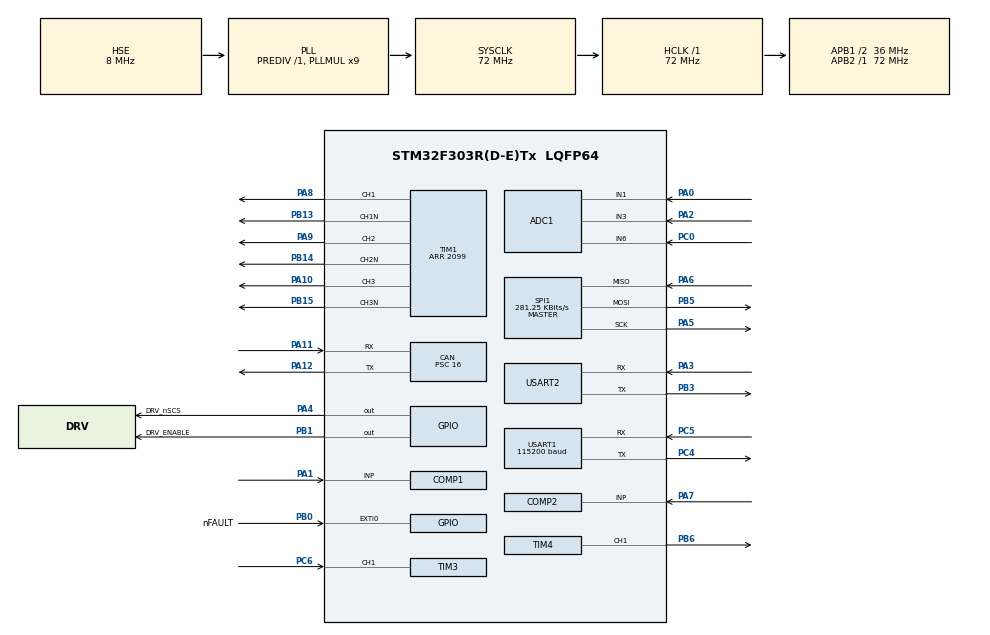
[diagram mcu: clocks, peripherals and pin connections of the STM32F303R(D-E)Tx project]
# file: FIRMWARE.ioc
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ADC1.Channel-0\#ChannelRegularConversion=ADC_CHANNEL_1
ADC1.NbrOfConversionFlag=1
ADC1.Offset-0\#ChannelRegularConversion=0
ADC1.OffsetNumber-0\#ChannelRegularConversion=ADC_OFFSET_NONE
ADC1.Rank-0\#ChannelRegularConversion=1
ADC1.SamplingTime-0\#ChannelRegularConversion=ADC_SAMPLETIME_1CYCLE_5
ADC1.master=1
CAN.BS1=CAN_BS1_6TQ
CAN.BS2=CAN_BS2_2TQ
CAN.CalculateBaudRate=250000
CAN.CalculateTimeBit=4000
CAN.CalculateTimeQuantum=444.44444444444446
CAN.Prescaler=16
COMP1.InvertingInput=COMP_INVERTINGINPUT_1_2VREFINT
COMP1.TriggerMode=COMP_TRIGGERMODE_IT_RISING_FALLING
COMP2.InvertingInput=COMP_INVERTINGINPUT_1_2VREFINT
COMP2.TriggerMode=COMP_TRIGGERMODE_IT_RISING_FALLING
Mcu.Family=STM32F3
Mcu.Name=STM32F303R(D-E)Tx
Mcu.Package=LQFP64
NVIC.COMP1_2_3_IRQn=true\:0\:0\:false\:false\:true\:false\:true\:true
NVIC.EXTI0_IRQn=true\:0\:0\:false\:false\:true\:true\:true\:true
NVIC.PriorityGroup=NVIC_PRIORITYGROUP_4
NVIC.TIM2_IRQn=true\:0\:0\:false\:false\:true\:true\:true\:true
NVIC.TIM3_IRQn=true\:0\:0\:false\:false\:true\:true\:true\:true
NVIC.USART1_IRQn=true\:0\:0\:false\:false\:true\:true\:true\:true
PA0.Mode=IN1-Single-Ended
PA0.Signal=ADC1_IN1
PA1.Mode=INP
PA1.Signal=COMP1_INP
PA10.Signal=S_TIM1_CH3
PA11.Mode=CAN_Activate
PA11.Signal=CAN_RX
PA12.Mode=CAN_Activate
PA12.Signal=CAN_TX
PA13.Mode=Serial_Wire
PA13.Signal=SYS_JTMS-SWDIO
PA14.Mode=Serial_Wire
PA14.Signal=SYS_JTCK-SWCLK
PA2.Mode=IN3-Single-Ended
PA2.Signal=ADC1_IN3
PA3.Mode=Asynchronous
PA3.Signal=USART2_RX
PA4.GPIO_Label=DRV_nSCS
PA4.PinState=GPIO_PIN_SET
PA4.Signal=GPIO_Output
PA5.Mode=Full_Duplex_Master
PA5.Signal=SPI1_SCK
PA6.Mode=Full_Duplex_Master
PA6.Signal=SPI1_MISO
PA7.Mode=INP
PA7.Signal=COMP2_INP
PA8.Signal=S_TIM1_CH1
PA9.Signal=S_TIM1_CH2
PB0.GPIO_Label=nFAULT
PB0.GPIO_ModeDefaultEXTI=GPIO_MODE_IT_FALLING
PB0.GPIO_PuPd=GPIO_PULLUP
PB0.Signal=GPXTI0
PB1.GPIO_Label=DRV_ENABLE
PB1.Signal=GPIO_Output
PB13.Mode=PWM Generation1 CH1 CH1N
PB13.Signal=TIM1_CH1N
PB14.Mode=PWM Generation2 CH2 CH2N
PB14.Signal=TIM1_CH2N
PB15.Mode=PWM Generation3 CH3 CH3N
PB15.Signal=TIM1_CH3N
PB3.Mode=Asynchronous
PB3.Signal=USART2_TX
PB5.Mode=Full_Duplex_Master
PB5.Signal=SPI1_MOSI
PB6.Signal=S_TIM4_CH1
PC0.Signal=ADCx_IN6
PC4.Mode=Asynchronous
PC4.Signal=USART1_TX
PC5.Mode=Asynchronous
PC5.Signal=USART1_RX
PC6.Signal=S_TIM3_CH1
PF0-OSC_IN.Mode=HSE-External-Oscillator
PF0-OSC_IN.Signal=RCC_OSC_IN
PF1-OSC_OUT.Mode=HSE-External-Oscillator
PF1-OSC_OUT.Signal=RCC_OSC_OUT
ProjectManager.HeapSize=0x200
ProjectManager.StackSize=0x400
ProjectManager.TargetToolchain=STM32CubeIDE
RCC.AHBFreq_Value=72000000
RCC.APB1CLKDivider=RCC_HCLK_DIV2
RCC.APB1Freq_Value=36000000
RCC.APB1TimFreq_Value=72000000
RCC.APB2Freq_Value=72000000
RCC.APB2TimFreq_Value=72000000
RCC.CortexFreq_Value=72000000
RCC.HCLKFreq_Value=72000000
RCC.HSE_VALUE=8000000
RCC.HSI_VALUE=8000000
RCC.LSE_VALUE=32768
RCC.PLLMUL=RCC_PLL_MUL9
RCC.PLLSourceVirtual=RCC_PLLSOURCE_HSE
RCC.SYSCLKFreq_VALUE=72000000
RCC.SYSCLKSourceVirtual=RCC_SYSCLKSOURCE_PLLCLK
RCC.USBFreq_Value=72000000
SH.ADCx_IN6.0=ADC1_IN6,IN6-Single-Ended
SH.S_TIM1_CH1.0=TIM1_CH1,PWM Generation1 CH1 CH1N
SH.S_TIM1_CH2.0=TIM1_CH2,PWM Generation2 CH2 CH2N
SH.S_TIM1_CH3.0=TIM1_CH3,PWM Generation3 CH3 CH3N
SH.S_TIM3_CH1.0=TIM3_CH1,Input_Capture1_from_TI1
SH.S_TIM4_CH1.0=TIM4_CH1,PWM Generation1 CH1
SPI1.BaudRatePrescaler=SPI_BAUDRATEPRESCALER_256
SPI1.CLKPhase=SPI_PHASE_2EDGE
SPI1.CalculateBaudRate=281.25 KBits/s
SPI1.DataSize=SPI_DATASIZE_16BIT
SPI1.Direction=SPI_DIRECTION_2LINES
SPI1.Mode=SPI_MODE_MASTER
SPI1.VirtualType=VM_MASTER
TIM1.AutomaticOutput=TIM_AUTOMATICOUTPUT_ENABLE
TIM1.Channel-PWM\ Generation1\ CH1\ CH1N=TIM_CHANNEL_1
TIM1.Channel-PWM\ Generation2\ CH2\ CH2N=TIM_CHANNEL_2
TIM1.Channel-PWM\ Generation3\ CH3\ CH3N=TIM_CHANNEL_3
TIM1.DeadTime=72
TIM1.Period=2099
TIM2.Period=9000
TIM2.Prescaler=71
TIM3.Channel-Input_Capture1_from_TI1=TIM_CHANNEL_1
TIM3.Prescaler=71
TIM4.Channel-PWM\ Generation1\ CH1=TIM_CHANNEL_1
TIM4.Period=19999
TIM4.Prescaler=71
USART1.BaudRate=115200
USART1.VirtualMode-Asynchronous=VM_ASYNC
USART2.VirtualMode-Asynchronous=VM_ASYNC
VP_COMP1_VS_VREFINT12.Mode=VREFINT_12
VP_COMP2_VS_VREFINT12.Mode=VREFINT_12
VP_TIM1_VS_ClockSourceINT.Mode=Internal
VP_TIM2_VS_ClockSourceINT.Mode=Internal
VP_TIM2_VS_OPM.Mode=OPM_bit
VP_TIM3_VS_ClockSourceINT.Mode=Internal
VP_TIM4_VS_ClockSourceINT.Mode=Internal
board=custom

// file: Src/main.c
/* USER CODE BEGIN Header */
/**
  ******************************************************************************
  * @file           : main.c
  * @brief          : ESC Firmware — STM32F303RET6 + DRV8353SRTAT
  *                   Hardcoded throttle test — verifies PWM output via UART
  *
  * Motor control from:
  *   AM32 MultiRotor ESC Firmware (AlkaMotors/AM32-MultiRotor-ESC-firmware)
  *   Sapog open-source ESC (PX4/sapog)
  *   open-esc-firmware (open-esc/open-esc-firmware)
  *
  * UART output → ST-Link VCP → COM5 → PowerShell terminal on PC
  * Read with: $p=New-Object IO.Ports.SerialPort COM5,115200,None,8,One;$p.Open();while($true){try{Write-Host $p.ReadLine()}catch{}}
  ******************************************************************************
  */
/* USER CODE END Header */
#include "main.h"
#include "adc.h"
#include "can.h"
#include "comp.h"
#include "spi.h"
#include "tim.h"
#include "usart.h"
#include "gpio.h"

/* USER CODE BEGIN Includes */
#include <stdio.h>
#include <string.h>
#include <stdint.h>
#include <stdbool.h>
/* USER CODE END Includes */

/* USER CODE BEGIN PD */

/* --- DRV8353S REGISTER ADDRESSES [open-esc-firmware drv8353rs.h] --- */
#define DRIVER_CONTROL          0x02
#define GATE_DRIVE_HIGH_CONTROL 0x03
#define GATE_DRIVE_LOW_CONTROL  0x04
#define OVERCURRENT_CONTROL     0x05
#define CURRENT_SENSE_CONTROL   0x06
#define DRIVER_CONFIGURATION    0x07
#define BOTTOM_11_BIT_MASK      0x7FF
#define BOTTOM_4_BIT_MASK       0x0F

/* --- MOTOR CONSTANTS --- */
#define PWM_ARR                 2100
#define RAMP_STEP               3
#define MIN_STARTUP_DUTY        150
#define BEMF_FILTER_COUNT       3
#define STARTUP_STEP_DELAY_START_US   8000
#define STARTUP_STEP_DELAY_MIN_US     800
#define STARTUP_HANDOFF_CROSSES       10

/* --- TEST THROTTLE ---
 * Hardcoded throttle value for PWM verification test
 * Range: 0-8191 (maps to 0-100% duty)
 * 2000 = ~24% duty cycle — safe for bench test without motor connected
 */
#define TEST_THROTTLE_VALUE     2000

/* USER CODE END PD */

/* USER CODE BEGIN PV */

/* --- Motor command state --- */
static int16_t          g_throttle          = 0;
static uint32_t         g_current_duty      = 0;
static uint32_t         g_target_duty       = 0;
static uint8_t          g_armed             = 0;

/* --- Commutation state [AM32 main.c pattern] --- */
static uint8_t          g_step              = 0;
static uint8_t          g_direction         = 0;
static uint8_t          g_running           = 0;
static uint32_t         g_comm_intervals[6] = {9000,9000,9000,9000,9000,9000};
static uint8_t          g_interval_idx      = 0;
static uint32_t         g_avg_interval      = 9000;
static uint32_t         g_last_comm_tick    = 0;
static uint8_t          g_zero_crosses      = 0;
static uint8_t          g_bemf_rising       = 1;

/* --- Startup state [Sapog pattern] --- */
static uint32_t         g_startup_delay_us  = STARTUP_STEP_DELAY_START_US;
static uint8_t          g_startup_step      = 0;

/* --- Telemetry --- */
static float            g_rpm               = 0.0f;
static float            g_current_amps      = 0.0f;
static float            g_voltage_volts     = 0.0f;
static uint32_t         g_error_count       = 0;
static uint8_t          g_node_health       = 0;

/* USER CODE END PV */

void SystemClock_Config(void);

/* USER CODE BEGIN 0 */

/* ================================================================
   UART RETARGET — printf → USART2 → ST-Link VCP → PC terminal
   ================================================================ */
int _write(int file, char *ptr, int len)
{
    HAL_UART_Transmit(&huart2, (uint8_t*)ptr, len, HAL_MAX_DELAY);
    return len;
}

/* ================================================================
   DRV8353S SPI DRIVER
   [open-esc-firmware drv8353rs.c — ChibiOS calls replaced with HAL]
   ================================================================ */

static void delay_us(uint32_t us)
{
    uint32_t start = DWT->CYCCNT;
    uint32_t ticks = us * (HAL_RCC_GetHCLKFreq() / 1000000UL);
    while ((DWT->CYCCNT - start) < ticks);
}

static uint16_t spi_exchange_word(uint16_t tx_word)
{
    uint8_t tx[2], rx[2];
    tx[0] = (uint8_t)(tx_word >> 8);
    tx[1] = (uint8_t)(tx_word & 0xFF);
    HAL_GPIO_WritePin(GPIOA, GPIO_PIN_4, GPIO_PIN_RESET);
    HAL_SPI_TransmitReceive(&hspi1, tx, rx, 2, 10);
    HAL_GPIO_WritePin(GPIOA, GPIO_PIN_4, GPIO_PIN_SET);
    return (uint16_t)((rx[0] << 8) | rx[1]);
}

static uint16_t drv_read_reg(uint8_t addr)
{
    addr &= BOTTOM_4_BIT_MASK;
    return spi_exchange_word((1 << 15) | (addr << 11)) & BOTTOM_11_BIT_MASK;
}

static void drv_write_reg(uint8_t addr, uint16_t data)
{
    addr &= BOTTOM_4_BIT_MASK;
    data &= BOTTOM_11_BIT_MASK;
    delay_us(1);
    spi_exchange_word((0 << 15) | (addr << 11) | data);
}

static void drv_enable(void)
{
    HAL_GPIO_WritePin(GPIOB, GPIO_PIN_1, GPIO_PIN_RESET);
    delay_us(40);
    HAL_GPIO_WritePin(GPIOB, GPIO_PIN_1, GPIO_PIN_SET);
}

static void drv_lock_spi(void)
{
    uint16_t cmd = drv_read_reg(GATE_DRIVE_HIGH_CONTROL);
    cmd &= ~(0b111 << 8);
    cmd |=  (0b110 << 8);
    drv_write_reg(GATE_DRIVE_HIGH_CONTROL, cmd);
}

static void drv_unlock_spi(void)
{
    uint16_t cmd = drv_read_reg(GATE_DRIVE_HIGH_CONTROL);
    cmd &= ~(0b111 << 8);
    cmd |=  (0b011 << 8);
    drv_write_reg(GATE_DRIVE_HIGH_CONTROL, cmd);
}

static bool drv_has_fault(void)
{
    return HAL_GPIO_ReadPin(GPIOB, GPIO_PIN_0) == GPIO_PIN_RESET;
}

static void DRV8353_Init(void)
{
    drv_enable();
    drv_unlock_spi();

    uint16_t tx_driver_control =
          0 << 10 | 0 << 9 | 0 << 8 | 1 << 7
        | 0 << 5  | 0 << 4 | 0 << 3 | 0 << 2
        | 0 << 1  | 0 << 0;
    drv_write_reg(DRIVER_CONTROL, tx_driver_control);

    uint16_t tx_gate_drive_high =
          0b000  << 8
        | 0b0100 << 4
        | 0b0011 << 0;
    drv_write_reg(GATE_DRIVE_HIGH_CONTROL, tx_gate_drive_high);

    uint16_t tx_gate_drive_low =
          0    << 10
        | 0b01 <<  8
        | 0b0100 << 4
        | 0b0011 << 0;
    drv_write_reg(GATE_DRIVE_LOW_CONTROL, tx_gate_drive_low);

    uint16_t tx_overcurrent_control =
          0    << 10
        | 0b01 <<  8
        | 0b01 <<  6
        | 0b10 <<  4
        | 0b0000 << 0;
    drv_write_reg(OVERCURRENT_CONTROL, tx_overcurrent_control);

    uint16_t tx_current_sense_control =
          0    << 10
        | 1    <<  9
        | 0    <<  8
        | 0b11 <<  6
        | 0    <<  5
        | 0    <<  4
        | 0    <<  3
        | 0    <<  2
        | 0b11 <<  0;
    drv_write_reg(CURRENT_SENSE_CONTROL, tx_current_sense_control);

    uint16_t tx_driver_configuration = 1 << 0;
    drv_write_reg(DRIVER_CONFIGURATION, tx_driver_configuration);

    drv_lock_spi();
}

static void DRV8353_Calibrate(void)
{
    drv_unlock_spi();
    uint16_t csa = drv_read_reg(CURRENT_SENSE_CONTROL);
    csa |= 0b111 << 2;
    drv_write_reg(CURRENT_SENSE_CONTROL, csa);
    HAL_Delay(1000);
    csa &= ~(0b111 << 2);
    drv_write_reg(CURRENT_SENSE_CONTROL, csa);
    drv_lock_spi();
}

static void DRV8353_HandleFault(void)
{
    uint16_t fault1 = drv_read_reg(0x00);
    if (fault1 & (1 << 7)) g_node_health = 1;
    if (fault1 & (1 << 6)) g_node_health = 1;
    if (fault1 & 0x3F)
    {
        g_error_count++;
        g_throttle = 0; g_armed = 0; g_running = 0;
    }
    drv_unlock_spi();
    drv_write_reg(DRIVER_CONTROL, 0x001);
    HAL_Delay(1);
    drv_write_reg(DRIVER_CONTROL, 0x000);
    drv_lock_spi();
}

/* ================================================================
   PHASE OUTPUT CONTROL [AM32 phaseouts.c]
   ================================================================ */

static void phaseA_PWM(uint32_t d) { TIM1->CCR1=d; TIM1->CCER|=(TIM_CCER_CC1E|TIM_CCER_CC1NE); }
static void phaseA_LOW(void)       { TIM1->CCR1=0; TIM1->CCER&=~TIM_CCER_CC1E;  TIM1->CCER|=TIM_CCER_CC1NE; }
static void phaseA_FLOAT(void)     { TIM1->CCR1=0; TIM1->CCER&=~(TIM_CCER_CC1E|TIM_CCER_CC1NE); }
static void phaseB_PWM(uint32_t d) { TIM1->CCR2=d; TIM1->CCER|=(TIM_CCER_CC2E|TIM_CCER_CC2NE); }
static void phaseB_LOW(void)       { TIM1->CCR2=0; TIM1->CCER&=~TIM_CCER_CC2E;  TIM1->CCER|=TIM_CCER_CC2NE; }
static void phaseB_FLOAT(void)     { TIM1->CCR2=0; TIM1->CCER&=~(TIM_CCER_CC2E|TIM_CCER_CC2NE); }
static void phaseC_PWM(uint32_t d) { TIM1->CCR3=d; TIM1->CCER|=(TIM_CCER_CC3E|TIM_CCER_CC3NE); }
static void phaseC_LOW(void)       { TIM1->CCR3=0; TIM1->CCER&=~TIM_CCER_CC3E;  TIM1->CCER|=TIM_CCER_CC3NE; }
static void phaseC_FLOAT(void)     { TIM1->CCR3=0; TIM1->CCER&=~(TIM_CCER_CC3E|TIM_CCER_CC3NE); }
static void allPhases_OFF(void)
{
    TIM1->CCR1=0; TIM1->CCR2=0; TIM1->CCR3=0;
    TIM1->CCER &= ~(TIM_CCER_CC1E|TIM_CCER_CC1NE|
                    TIM_CCER_CC2E|TIM_CCER_CC2NE|
                    TIM_CCER_CC3E|TIM_CCER_CC3NE);
}

/* ================================================================
   COMMUTATION [AM32 main.c commutate()]
   ================================================================ */

static void applyStep(uint8_t step, uint32_t duty)
{
    switch(step)
    {
        case 0: phaseA_PWM(duty); phaseB_LOW();     phaseC_FLOAT(); g_bemf_rising=0; break;
        case 1: phaseA_PWM(duty); phaseB_FLOAT();   phaseC_LOW();   g_bemf_rising=1; break;
        case 2: phaseA_FLOAT();   phaseB_PWM(duty); phaseC_LOW();   g_bemf_rising=0; break;
        case 3: phaseA_LOW();     phaseB_PWM(duty); phaseC_FLOAT(); g_bemf_rising=1; break;
        case 4: phaseA_LOW();     phaseB_FLOAT();   phaseC_PWM(duty); g_bemf_rising=0; break;
        case 5: phaseA_FLOAT();   phaseB_LOW();     phaseC_PWM(duty); g_bemf_rising=1; break;
        default: allPhases_OFF(); break;
    }
}

static void commutate(void)
{
    uint32_t now      = TIM2->CNT;
    uint32_t interval = now - g_last_comm_tick;
    g_last_comm_tick  = now;
    g_comm_intervals[g_interval_idx] = interval;
    g_interval_idx = (g_interval_idx + 1) % 6;
    uint32_t sum = 0;
    for (uint8_t i = 0; i < 6; i++) sum += g_comm_intervals[i];
    g_avg_interval = sum / 6;
    if (g_avg_interval > 0)
        g_rpm = 60000000.0f / (g_avg_interval * 6.0f * 7.0f);
    if (g_direction == 0) g_step = (g_step + 1) % 6;
    else                  g_step = (g_step + 5) % 6;
    applyStep(g_step, g_current_duty);
}

static void pollBEMF(void)
{
    static uint8_t filter_count = 0;
    static uint8_t zc_found     = 0;
    uint8_t comp_out = (uint8_t)((COMP1->CSR >> 14) & 0x1);
    if (comp_out == g_bemf_rising)
    {
        filter_count++;
        if (filter_count >= BEMF_FILTER_COUNT && !zc_found)
        {
            zc_found = 1; filter_count = 0;
            uint32_t advance  = g_avg_interval / 6;
            uint32_t waitTime = g_avg_interval / 2;
            if (waitTime > advance) waitTime -= advance;
            __HAL_TIM_SET_AUTORELOAD(&htim2, waitTime);
            __HAL_TIM_SET_COUNTER(&htim2, 0);
            HAL_TIM_Base_Start_IT(&htim2);
        }
    }
    else { filter_count = 0; zc_found = 0; }
}

/* ================================================================
   STARTUP [Sapog motor.cpp open-loop pattern]
   ================================================================ */

static void runStartup(void)
{
    uint32_t duty = (g_current_duty > MIN_STARTUP_DUTY) ? g_current_duty : MIN_STARTUP_DUTY;
    applyStep(g_startup_step, duty);
    delay_us(g_startup_delay_us);
    g_startup_step = (g_startup_step + 1) % 6;
    if (g_startup_delay_us > STARTUP_STEP_DELAY_MIN_US + 50)
        g_startup_delay_us -= 50;
    uint8_t comp_out = (uint8_t)((COMP1->CSR >> 14) & 0x1);
    if (comp_out == g_bemf_rising) g_zero_crosses++;
    if (g_zero_crosses >= STARTUP_HANDOFF_CROSSES)
    {
        g_running = 1; g_zero_crosses = 0;
        g_startup_delay_us = STARTUP_STEP_DELAY_START_US;
        HAL_NVIC_EnableIRQ(COMP1_2_3_IRQn);
    }
}

/* ================================================================
   THROTTLE
   ================================================================ */

static void apply_throttle(int16_t raw)
{
    if (!g_armed) { if (raw == 0) g_armed = 1; return; }
    if (raw == 0)
    {
        g_target_duty = 0; g_running = 0;
        g_startup_delay_us = STARTUP_STEP_DELAY_START_US;
        g_zero_crosses = 0; allPhases_OFF(); return;
    }
    if (raw < 0) { g_direction = 1; raw = -raw; }
    else           g_direction = 0;
    g_target_duty = (uint32_t)((raw / 8191.0f) * PWM_ARR);
    if (g_current_duty < g_target_duty)
    {
        g_current_duty += RAMP_STEP;
        if (g_current_duty > g_target_duty) g_current_duty = g_target_duty;
    }
    else if (g_current_duty > g_target_duty)
    {
        if (g_current_duty >= RAMP_STEP) g_current_duty -= RAMP_STEP;
        else g_current_duty = 0;
    }
    if (!g_running) runStartup();
    else            applyStep(g_step, g_current_duty);
}

/* ================================================================
   ADC SENSING
   ================================================================ */

static void updateADC(void)
{
    HAL_ADC_Start(&hadc1);
    if (HAL_ADC_PollForConversion(&hadc1, 5) == HAL_OK)
    {
        uint32_t raw = HAL_ADC_GetValue(&hadc1);
        float v_so   = (raw / 4095.0f) * 3.3f;
        g_current_amps = (v_so - 1.65f) * 50.0f;
    }
    HAL_ADC_Start(&hadc1);
    if (HAL_ADC_PollForConversion(&hadc1, 5) == HAL_OK)
    {
        uint32_t raw = HAL_ADC_GetValue(&hadc1);
        g_voltage_volts = ((raw / 4095.0f) * 3.3f) * 11.0f;
    }
    HAL_ADC_Stop(&hadc1);
}

/* ================================================================
   INTERRUPT HANDLERS
   ================================================================ */

void COMP1_2_3_IRQHandler(void)
{
    uint32_t elapsed = TIM2->CNT - g_last_comm_tick;
    if (elapsed < (g_avg_interval / 2))
    {
        uint8_t comp_out = (uint8_t)((COMP1->CSR >> 14) & 0x1);
        if (comp_out != g_bemf_rising) { EXTI->PR |= EXTI_PR_PR21; return; }
    }
    uint32_t advance  = g_avg_interval / 6;
    uint32_t waitTime = g_avg_interval / 2;
    if (waitTime > advance) waitTime -= advance;
    if (waitTime < 10) waitTime = 10;
    HAL_TIM_Base_Stop(&htim2);
    __HAL_TIM_SET_COUNTER(&htim2, 0);
    __HAL_TIM_SET_AUTORELOAD(&htim2, waitTime);
    HAL_TIM_Base_Start_IT(&htim2);
    EXTI->PR |= EXTI_PR_PR21;
}

void TIM2_IRQHandler(void)
{
    HAL_TIM_Base_Stop(&htim2);
    __HAL_TIM_CLEAR_FLAG(&htim2, TIM_FLAG_UPDATE);
    commutate();
}

void EXTI0_IRQHandler(void)
{
    HAL_GPIO_EXTI_IRQHandler(GPIO_PIN_0);
    if (drv_has_fault()) DRV8353_HandleFault();
}

/* USER CODE END 0 */

int main(void)
{

  /* MCU Configuration--------------------------------------------------------*/

  /* Reset of all peripherals, Initializes the Flash interface and the Systick. */
  HAL_Init();

  /* Configure the system clock */
  SystemClock_Config();

  /* Initialize all configured peripherals */
  MX_GPIO_Init();
  MX_ADC1_Init();
  MX_CAN_Init();
  MX_SPI1_Init();
  MX_TIM1_Init();
  MX_TIM2_Init();
  MX_TIM3_Init();
  MX_TIM4_Init();
  MX_USART1_UART_Init();
  MX_COMP1_Init();
  MX_COMP2_Init();
  MX_USART2_UART_Init();
  /* USER CODE BEGIN 2 */

    /* Enable DWT cycle counter for microsecond delays */
    CoreDebug->DEMCR |= CoreDebug_DEMCR_TRCENA_Msk;
    DWT->CYCCNT       = 0;
    DWT->CTRL        |= DWT_CTRL_CYCCNTENA_Msk;

    /* Safe state */
    allPhases_OFF();

    printf("\r\n=== ESC PWM TEST FIRMWARE ===\r\n");
    printf("Initializing DRV8353...\r\n");

    /* Start TIM1 — all 6 complementary PWM channels */
    HAL_TIM_PWM_Start(&htim1,    TIM_CHANNEL_1);
    HAL_TIMEx_PWMN_Start(&htim1, TIM_CHANNEL_1);
    HAL_TIM_PWM_Start(&htim1,    TIM_CHANNEL_2);
    HAL_TIMEx_PWMN_Start(&htim1, TIM_CHANNEL_2);
    HAL_TIM_PWM_Start(&htim1,    TIM_CHANNEL_3);
    HAL_TIMEx_PWMN_Start(&htim1, TIM_CHANNEL_3);

    /* Init DRV8353S gate driver */
    DRV8353_Init();

    /* Check for DRV fault immediately after init */
    if (drv_has_fault())
    {
        printf("ERROR: DRV8353 fault detected after init!\r\n");
        printf("Check SPI wiring and power supply.\r\n");
    }
    else
    {
        printf("DRV8353 init OK\r\n");
    }

    DRV8353_Calibrate();
    printf("DRV8353 calibrate OK\r\n");

    /* Disable COMP interrupt until motor is running */
    HAL_NVIC_DisableIRQ(COMP1_2_3_IRQn);

    /* Force armed + fixed throttle for bench test */
    g_armed    = 1;
    g_throttle = TEST_THROTTLE_VALUE;

    printf("Armed. Throttle = %d (target duty ~%lu / %d)\r\n",
           TEST_THROTTLE_VALUE,
           (uint32_t)((TEST_THROTTLE_VALUE / 8191.0f) * PWM_ARR),
           PWM_ARR);
    printf("Watching CCR registers every 500ms...\r\n\r\n");

    uint32_t t_throttle = 0;
    uint32_t t_adc      = 0;
    uint32_t t_print    = 0;

  /* USER CODE END 2 */

  /* Infinite loop */
  /* USER CODE BEGIN WHILE */
    while (1)
    {
        uint32_t now = HAL_GetTick();

        /* Apply throttle every 1ms */
        if ((now - t_throttle) >= 1)
        {
            t_throttle = now;
            apply_throttle(g_throttle);
        }

        /* ADC every 10ms */
        if ((now - t_adc) >= 10)
        {
            t_adc = now;
            updateADC();
        }

        /* BEMF polling at low RPM */
        if (g_running && g_avg_interval > 5000)
            pollBEMF();

        /* Print status every 500ms */
        if ((now - t_print) >= 500)
        {
            t_print = now;
            printf("CCR1=%4lu CCR2=%4lu CCR3=%4lu | duty=%4lu target=%4lu | step=%d running=%d | fault=%d\r\n",
                   TIM1->CCR1,
                   TIM1->CCR2,
                   TIM1->CCR3,
                   g_current_duty,
                   g_target_duty,
                   g_step,
                   g_running,
                   drv_has_fault() ? 1 : 0);
        }

    /* USER CODE END WHILE */

    }
}

void SystemClock_Config(void)
{
  RCC_OscInitTypeDef RCC_OscInitStruct = {0};
  RCC_ClkInitTypeDef RCC_ClkInitStruct = {0};
  RCC_PeriphCLKInitTypeDef PeriphClkInit = {0};

  /** Initializes the RCC Oscillators according to the specified parameters
  * in the RCC_OscInitTypeDef structure.
  */
  RCC_OscInitStruct.OscillatorType = RCC_OSCILLATORTYPE_HSE;
  RCC_OscInitStruct.HSEState = RCC_HSE_ON;
  RCC_OscInitStruct.HSIState = RCC_HSI_ON;
  RCC_OscInitStruct.PLL.PLLState = RCC_PLL_ON;
  RCC_OscInitStruct.PLL.PLLSource = RCC_PLLSOURCE_HSE;
  RCC_OscInitStruct.PLL.PLLMUL = RCC_PLL_MUL9;
  RCC_OscInitStruct.PLL.PREDIV = RCC_PREDIV_DIV1;
  if (HAL_RCC_OscConfig(&RCC_OscInitStruct) != HAL_OK)
  {
    Error_Handler();
  }

  /** Initializes the CPU, AHB and APB buses clocks
  */
  RCC_ClkInitStruct.ClockType = RCC_CLOCKTYPE_HCLK|RCC_CLOCKTYPE_SYSCLK
                              |RCC_CLOCKTYPE_PCLK1|RCC_CLOCKTYPE_PCLK2;
  RCC_ClkInitStruct.SYSCLKSource = RCC_SYSCLKSOURCE_PLLCLK;
  RCC_ClkInitStruct.AHBCLKDivider = RCC_SYSCLK_DIV1;
  RCC_ClkInitStruct.APB1CLKDivider = RCC_HCLK_DIV2;
  RCC_ClkInitStruct.APB2CLKDivider = RCC_HCLK_DIV1;

  if (HAL_RCC_ClockConfig(&RCC_ClkInitStruct, FLASH_LATENCY_2) != HAL_OK)
  {
    Error_Handler();
  }
  PeriphClkInit.PeriphClockSelection = RCC_PERIPHCLK_USART1|RCC_PERIPHCLK_USART2
                              |RCC_PERIPHCLK_TIM1|RCC_PERIPHCLK_ADC12
                              |RCC_PERIPHCLK_TIM2|RCC_PERIPHCLK_TIM34;
  PeriphClkInit.Usart1ClockSelection = RCC_USART1CLKSOURCE_PCLK2;
  PeriphClkInit.Usart2ClockSelection = RCC_USART2CLKSOURCE_PCLK1;
  PeriphClkInit.Adc12ClockSelection = RCC_ADC12PLLCLK_DIV1;
  PeriphClkInit.Tim1ClockSelection = RCC_TIM1CLK_HCLK;
  PeriphClkInit.Tim2ClockSelection = RCC_TIM2CLK_HCLK;
  PeriphClkInit.Tim34ClockSelection = RCC_TIM34CLK_HCLK;
  if (HAL_RCCEx_PeriphCLKConfig(&PeriphClkInit) != HAL_OK)
  {
    Error_Handler();
  }
}

void Error_Handler(void)
{
    __disable_irq();
    while (1) { }
}
